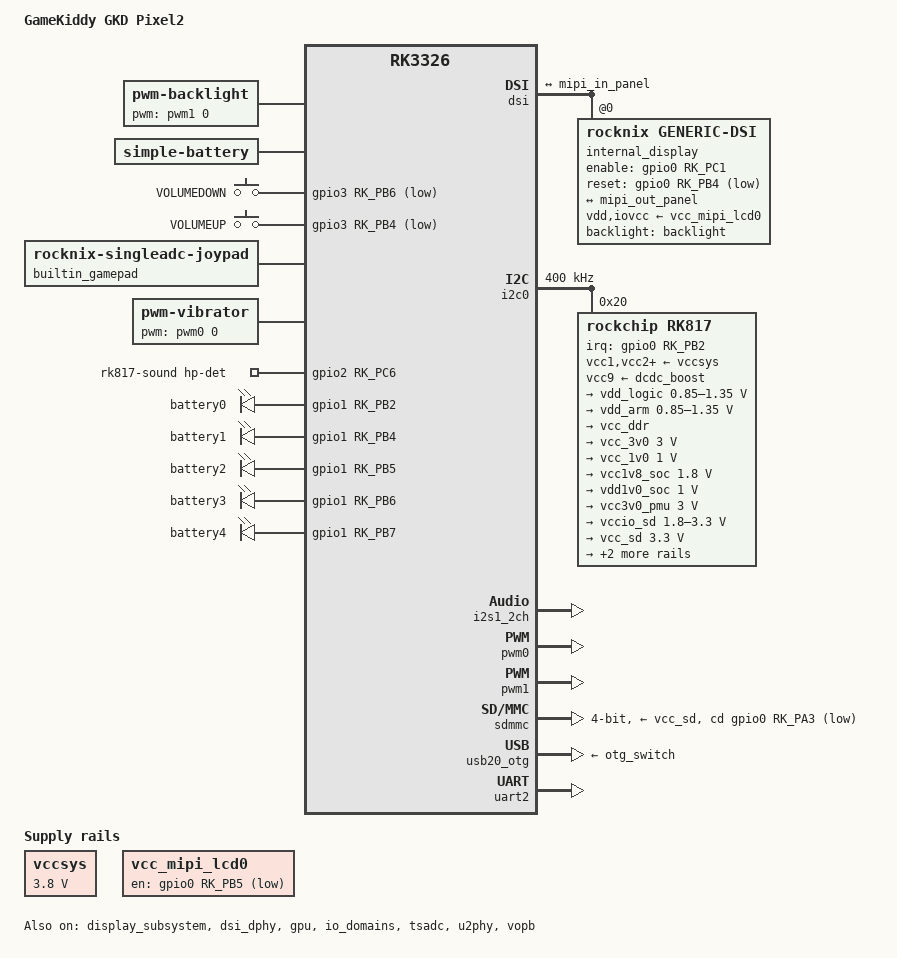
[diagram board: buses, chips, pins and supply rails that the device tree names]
// SPDX-License-Identifier: (GPL-2.0+ OR MIT)
/*
 * Copyright (c) 2024 GameKiddy
 *
 * Reconstructed from the vendor-extracted rk3326s-gkd-pixel2.dtsi into a
 * mainline/ROCKNIX-style board .dts on top of the shared rk3326.dtsi,
 * mirroring the other standalone RK3326 boards in this tree (e.g.
 * rk3326-gameforce-chi.dts).
 *
 * No analog sticks - every input is a plain GPIO switch - so the gamepad
 * uses rocknix-singleadc-joypad with amux-count = <0>, same as the other
 * all-digital RK3326 boards (e.g. rk3326-gameconsole-r33s.dts).
 */

/dts-v1/;
#include <dt-bindings/gpio/gpio.h>
#include <dt-bindings/input/input.h>
#include <dt-bindings/leds/common.h>
#include <dt-bindings/pinctrl/rockchip.h>
#include "rk3326.dtsi"

/ {
	model = "GameKiddy GKD Pixel2";
	compatible = "gamekiddy,gkd-pixel2", "rockchip,rk3326";
	chassis-type = "handset";

	aliases {
		mmc0 = &sdmmc;
	};

	chosen {
		stdout-path = "serial2:1500000n8";
	};

	backlight: backlight {
		compatible = "pwm-backlight";
		pwms = <&pwm1 0 25000 1>;
		/*
		 * Levels 0-16 are clamped to 17: below that the backlight
		 * circuit can't sustain visible output and just goes dark.
		 * Measured floor was 15 on one unit, 12 on another - 17 adds
		 * margin for unsampled unit-to-unit variance.
		 */
		brightness-levels = <
		 17  17  17  17  17  17  17  17
		 17  17  17  17  17  17  17  17
		 17  17  18  19  20  21  22  23
		 24  25  26  27  28  29  30  31
		 32  33  34  35  36  37  38  39
		 40  41  42  43  44  45  46  47
		 48  49  50  51  52  53  54  55
		 56  57  58  59  60  61  62  63
		 64  65  66  67  68  69  70  71
		 72  73  74  75  76  77  78  79
		 80  81  82  83  84  85  86  87
		 88  89  90  91  92  93  94  95
		 96  97  98  99 100 101 102 103
		104 105 106 107 108 109 110 111
		112 113 114 115 116 117 118 119
		120 121 122 123 124 125 126 127
		128 129 130 131 132 133 134 135
		136 137 138 139 140 141 142 143
		144 145 146 147 148 149 150 151
		152 153 154 155 156 157 158 159
		160 161 162 163 164 165 166 167
		168 169 170 171 172 173 174 175
		176 177 178 179 180 181 182 183
		184 185 186 187 188 189 190 191
		192 193 194 195 196 197 198 199
		200 201 202 203 204 205 206 207
		208 209 210 211 212 213 214 215
		216 217 218 219 220 221 222 223
		224 225 226 227 228 229 230 231
		232 233 234 235 236 237 238 239
		240 241 242 243 244 245 246 247
		248 249 250 251 252 253 254 255>;
		default-brightness-level = <200>;
	};

	battery: battery {
		compatible = "simple-battery";
		charge-full-design-microamp-hours = <1730000>;
		charge-term-current-microamp = <300000>;
		constant-charge-current-max-microamp = <2000000>;
		constant-charge-voltage-max-microvolt = <4350000>;
		factory-internal-resistance-micro-ohms = <111000>;
		voltage-max-design-microvolt = <4333000>;
		voltage-min-design-microvolt = <3400000>;

		ocv-capacity-celsius = <20>;
		ocv-capacity-table-0 =  <4333000 100>, <4276000 95>, <4217000 90>, <4163000 85>,
					<4107000 80>, <4062000 75>, <4011000 70>, <3967000 65>,
					<3921000 60>, <3878000 55>, <3848000 50>, <3826000 45>,
					<3805000 40>, <3790000 35>, <3776000 30>, <3754000 25>,
					<3738000 20>, <3708000 15>, <3694000 10>, <3643000 5>,
					<3444000 0>;
	};

	gpio_keys: gpio-keys {
		compatible = "gpio-keys";
		pinctrl-names = "default";
		pinctrl-0 = <&volume_gpio>;
		autorepeat;

		button-vol-down {
			gpios = <&gpio3 RK_PB6 GPIO_ACTIVE_LOW>;
			label = "VOLUMEDOWN";
			linux,code = <KEY_VOLUMEDOWN>;
		};

		button-vol-up {
			gpios = <&gpio3 RK_PB4 GPIO_ACTIVE_LOW>;
			label = "VOLUMEUP";
			linux,code = <KEY_VOLUMEUP>;
		};
	};

	builtin_gamepad: gkd-pixel2-joypad {
		compatible = "rocknix-singleadc-joypad";
		pinctrl-names = "default";
		pinctrl-0 = <&btn_pins>;
		joypad-name = "gkd_pixel2_joypad";
		joypad-vendor = <0x0001>;
		joypad-product = <0x2102>;
		joypad-revision = <0x0100>;
		status = "okay";

		/* purely digital switches - no ADC/analog stick present */
		amux-count = <0>;
		poll-interval = <10>;

		/*
		 * No rumble properties here - handled by the standalone
		 * "vibrator" node below instead of this driver's own
		 * has_rumble path (see there for why).
		 */

		button-up {
			gpios = <&gpio3 RK_PB5 GPIO_ACTIVE_LOW>;
			label = "DPAD-UP";
			linux,code = <BTN_DPAD_UP>;
		};

		button-down {
			gpios = <&gpio3 RK_PC4 GPIO_ACTIVE_LOW>;
			label = "DPAD-DOWN";
			linux,code = <BTN_DPAD_DOWN>;
		};

		button-left {
			gpios = <&gpio3 RK_PB3 GPIO_ACTIVE_LOW>;
			label = "DPAD-LEFT";
			linux,code = <BTN_DPAD_LEFT>;
		};

		button-right {
			gpios = <&gpio3 RK_PA4 GPIO_ACTIVE_LOW>;
			label = "DPAD-RIGHT";
			linux,code = <BTN_DPAD_RIGHT>;
		};

		button-a {
			gpios = <&gpio3 RK_PD1 GPIO_ACTIVE_LOW>;
			label = "SOUTH";
			linux,code = <BTN_SOUTH>;
		};

		button-b {
			gpios = <&gpio3 RK_PD2 GPIO_ACTIVE_LOW>;
			label = "EAST";
			linux,code = <BTN_EAST>;
		};

		button-x {
			gpios = <&gpio3 RK_PA5 GPIO_ACTIVE_LOW>;
			label = "NORTH";
			linux,code = <BTN_NORTH>;
		};

		button-y {
			gpios = <&gpio3 RK_PA6 GPIO_ACTIVE_LOW>;
			label = "WEST";
			linux,code = <BTN_WEST>;
		};

		button-l1 {
			gpios = <&gpio3 RK_PC0 GPIO_ACTIVE_LOW>;
			label = "TOP-LEFT";
			linux,code = <BTN_TL>;
		};

		button-r1 {
			gpios = <&gpio3 RK_PB2 GPIO_ACTIVE_LOW>;
			label = "TOP-RIGHT";
			linux,code = <BTN_TR>;
		};

		button-l2 {
			gpios = <&gpio3 RK_PC1 GPIO_ACTIVE_LOW>;
			label = "TOP-LEFT2";
			linux,code = <BTN_TL2>;
		};

		button-r2 {
			gpios = <&gpio3 RK_PC3 GPIO_ACTIVE_LOW>;
			label = "TOP-RIGHT2";
			linux,code = <BTN_TR2>;
		};

		button-select {
			gpios = <&gpio3 RK_PC2 GPIO_ACTIVE_LOW>;
			label = "SELECT";
			linux,code = <BTN_SELECT>;
		};

		button-start {
			gpios = <&gpio3 RK_PD3 GPIO_ACTIVE_LOW>;
			label = "START";
			linux,code = <BTN_START>;
		};

		button-menu {
			gpios = <&gpio3 RK_PC5 GPIO_ACTIVE_LOW>;
			label = "FUNCTION";
			linux,code = <BTN_TRIGGER_HAPPY1>;
		};
	};

	/*
	 * Uses the built-in pwm-vibrator driver (CONFIG_INPUT_PWM_VIBRA=y)
	 * instead of rocknix-singleadc-joypad's own has_rumble path, which
	 * is an out-of-tree module that doesn't probe until ~10s into boot
	 * vs ~0.65s for pwm-vibrator. Sibling boards (rg351m/rg351v/
	 * gameforce-chi) do the same.
	 *
	 * Period is 1000000ns (1kHz), not vendor's 200000000ns (5Hz): the
	 * vendor rate produces perceptible individual pulses at partial
	 * duty. 1kHz matches rg351m/rg351v and gives smooth vibration at
	 * any strength. Polarity matches vendor.
	 *
	 * pwm-vibra.c's probe left the motor stuck on at boot the same way
	 * rocknix-singleadc-joypad's did; 030-pwm-vibra-kick-stuck-boot-
	 * state.patch ports the same probe-time kick fix into it.
	 */
	vibrator: pwm-vibrator {
		compatible = "pwm-vibrator";
		pwms = <&pwm0 0 1000000 0>;
		pwm-names = "enable";
	};

	rk817-sound {
		compatible = "simple-audio-card";
		simple-audio-card,name = "rk817_int";
		simple-audio-card,format = "i2s";
		simple-audio-card,hp-det-gpio = <&gpio2 RK_PC6 GPIO_ACTIVE_HIGH>;
		simple-audio-card,mclk-fs = <256>;
		simple-audio-card,widgets =
			"Microphone", "Mic Jack",
			"Headphone", "Headphones",
			"Speaker", "Speaker";
		simple-audio-card,routing =
			"MICL", "Mic Jack",
			"Headphones", "HPOL",
			"Headphones", "HPOR",
			"Speaker", "SPKO";

		simple-audio-card,codec {
			sound-dai = <&rk817>;
		};

		simple-audio-card,cpu {
			sound-dai = <&i2s1_2ch>;
		};
	};

	vccsys: regulator-vccsys {
		compatible = "regulator-fixed";
		regulator-name = "vcc3v8_sys";
		regulator-always-on;
		regulator-boot-on;
		regulator-min-microvolt = <3800000>;
		regulator-max-microvolt = <3800000>;
	};

	vcc_mipi_lcd0: regulator-vcc-mipi-lcd0 {
		compatible = "regulator-fixed";
		regulator-name = "vcc_mipi_lcd0";
		gpio = <&gpio0 RK_PB5 GPIO_ACTIVE_LOW>;
		pinctrl-0 = <&vcc_mipi_lcd_n>;
		pinctrl-names = "default";
		regulator-boot-on;

		regulator-state-mem {
			regulator-off-in-suspend;
		};
	};

	leds {
		compatible = "gpio-leds";
		pinctrl-names = "default";
		pinctrl-0 = <&led_gpio>;

		led-0 {
			gpios = <&gpio1 RK_PB2 GPIO_ACTIVE_HIGH>;
			label = "battery0";
		};
		led-1 {
			gpios = <&gpio1 RK_PB4 GPIO_ACTIVE_HIGH>;
			label = "battery1";
		};
		led-2 {
			gpios = <&gpio1 RK_PB5 GPIO_ACTIVE_HIGH>;
			label = "battery2";
		};
		led-3 {
			gpios = <&gpio1 RK_PB6 GPIO_ACTIVE_HIGH>;
			label = "battery3";
		};
		led-4 {
			gpios = <&gpio1 RK_PB7 GPIO_ACTIVE_HIGH>;
			label = "battery4";
		};
	};

	/*
	 * Forwards these values to BL31 firmware via SIP calls, arming wake
	 * sources for PX30S's firmware-controlled deep suspend (see
	 * 031-px30s-suspend-wakeup-config.patch). Values match vendor
	 * exactly.
	 *
	 * DO NOT REMOVE, even though no other RK3326/Rockchip board has this
	 * node: confirmed by testing with it fully disabled that mem-sleep
	 * stops resuming entirely without it. Suspend/resume is fully
	 * reliable end to end: the separate post-resume cpufreq-transition
	 * crash is fixed - see 034-px30s-cru-suspend-resume-restore.patch.
	 */
	rockchip_suspend: rockchip-suspend {
		compatible = "rockchip,pm-px30";
		status = "okay";
		rockchip,sleep-debug-en = <0>;
		rockchip,sleep-mode-config = <132866>;
		rockchip,wakeup-config = <133>;
	};

	/*
	 * Board-local copy of the vendor cpu0_opp_table (all nine real
	 * frequency steps, vs mainline's shared 3-step table in px30.dtsi
	 * which several other RK3326 boards use by default - extending it
	 * directly would've changed their behavior too). All steps use the
	 * plain (unsuffixed) opp-microvolt value, which equals vendor's own
	 * -L0 row (the safest, highest-margin bin): mainline has no driver
	 * for the per-chip rockchip,bin-scaling-sel/opp-microvolt-Lx AVS
	 * selection vendor's own driver uses.
	 *
	 * An earlier, lower-voltage px30s-specific table caused the CPU
	 * overclock steps (1416/1512MHz) to freeze the system, even though
	 * this same silicon ran stable at 1416MHz under this generic table's
	 * higher 1.35V - i.e. 1512MHz was under-provisioned by the px30s
	 * table's lower ceiling, not overvolted by this one.
	 */
	gkd_pixel2_cpu0_opp_table: gkd-pixel2-cpu0-opp-table {
		compatible = "operating-points-v2";
		opp-shared;

		opp-408000000 {
			opp-hz = /bits/ 64 <408000000>;
			opp-microvolt = <950000 950000 1350000>;
			clock-latency-ns = <40000>;
			opp-suspend;
		};
		opp-600000000 {
			opp-hz = /bits/ 64 <600000000>;
			opp-microvolt = <950000 950000 1350000>;
			clock-latency-ns = <40000>;
		};
		opp-816000000 {
			opp-hz = /bits/ 64 <816000000>;
			opp-microvolt = <1050000 1050000 1350000>;
			clock-latency-ns = <40000>;
		};
		opp-1008000000 {
			opp-hz = /bits/ 64 <1008000000>;
			opp-microvolt = <1175000 1175000 1350000>;
			clock-latency-ns = <40000>;
		};
		opp-1200000000 {
			opp-hz = /bits/ 64 <1200000000>;
			opp-microvolt = <1300000 1300000 1350000>;
			clock-latency-ns = <40000>;
		};
		opp-1248000000 {
			opp-hz = /bits/ 64 <1248000000>;
			opp-microvolt = <1350000 1350000 1350000>;
			clock-latency-ns = <40000>;
		};
		opp-1296000000 {
			opp-hz = /bits/ 64 <1296000000>;
			opp-microvolt = <1350000 1350000 1350000>;
			clock-latency-ns = <40000>;
		};
		opp-1416000000 {
			opp-hz = /bits/ 64 <1416000000>;
			opp-microvolt = <1350000 1350000 1350000>;
			clock-latency-ns = <40000>;
			turbo-mode;
		};
		/*
		 * Disabled: this step was the trigger originally used to
		 * reproduce the post-resume-from-deep-suspend cpufreq-
		 * transition crash, which is now root-caused and fixed - see
		 * 034-px30s-cru-suspend-resume-restore.patch and the Alpha
		 * 1.4 release notes. Confirmed correct voltage (bit-for-bit
		 * matching vendor's reference table) and confirmed this
		 * silicon runs stable sustained at this frequency under a
		 * static governor, so this was never a simple
		 * overclock-instability disable.
		 *
		 * Left disabled for now regardless: this specific step can't
		 * have been exercised under the fix, since cpufreq never sees
		 * a disabled OPP entry to select in the first place. Re-enable
		 * only after testing 1512MHz directly post-fix, not simply
		 * because the general crash is fixed.
		 */
		opp-1512000000 {
			opp-hz = /bits/ 64 <1512000000>;
			opp-microvolt = <1350000 1350000 1350000>;
			clock-latency-ns = <40000>;
			turbo-mode;
			status = "disabled";
		};
	};

	gkd_pixel2_gpu_opp_table: gkd-pixel2-gpu-opp-table {
		compatible = "operating-points-v2";

		opp-200000000 {
			opp-hz = /bits/ 64 <200000000>;
			opp-microvolt = <950000>;
		};
		opp-300000000 {
			opp-hz = /bits/ 64 <300000000>;
			opp-microvolt = <975000>;
		};
		opp-400000000 {
			opp-hz = /bits/ 64 <400000000>;
			opp-microvolt = <1050000>;
		};
		opp-480000000 {
			opp-hz = /bits/ 64 <480000000>;
			opp-microvolt = <1125000>;
		};
		opp-520000000 {
			opp-hz = /bits/ 64 <520000000>;
			opp-microvolt = <1175000>;
		};
	};
};

&cpu0 {
	operating-points-v2 = <&gkd_pixel2_cpu0_opp_table>;
	cpu-supply = <&vdd_arm>;
};

&cpu1 {
	operating-points-v2 = <&gkd_pixel2_cpu0_opp_table>;
	cpu-supply = <&vdd_arm>;
};

&cpu2 {
	operating-points-v2 = <&gkd_pixel2_cpu0_opp_table>;
	cpu-supply = <&vdd_arm>;
};

&cpu3 {
	operating-points-v2 = <&gkd_pixel2_cpu0_opp_table>;
	cpu-supply = <&vdd_arm>;
};

&display_subsystem {
	status = "okay";
};

&dsi {
	#address-cells = <1>;
	#size-cells = <0>;
	status = "okay";

	internal_display: panel@0 {
		reg = <0>;
		/*
		 * Uses rocknix,generic-dsi (already used by other RK3326
		 * boards, e.g. rk3326-gameconsole-eeclone.dts) with an init
		 * sequence reconstructed for this panel. vdd-supply/
		 * iovcc-supply are this driver's actual regulator property
		 * names (see devm_regulator_get() in panel-generic-dsi.c).
		 * reset-gpios must be GPIO_ACTIVE_LOW - GPIO_ACTIVE_HIGH
		 * leaves the screen blank.
		 */
		compatible = "rocknix,generic-dsi";
		/*
		 * delays= is "prepare,reset,init,enable,ready" (ms) - see
		 * load_globals() in panel-generic-dsi.c. prepare = wait after
		 * asserting enable-gpio; reset = wait while reset-gpio is
		 * asserted; init = wait after deasserting reset, before the
		 * DCS init sequence starts; enable = wait after
		 * exit_sleep_mode; ready is parsed but currently dead code
		 * (its msleep is commented out in generic_panel_prepare()).
		 *
		 * prepare (2->20ms) and reset (1->150ms) mirror timings from
		 * the previous st7701 driver approach (see git history commit
		 * c1bb86d38e2f) - this driver's original values were far
		 * shorter before the DCS init sequence starts. Fixes the
		 * freeze/idle screen-corruption-on-wake bug.
		 */
		panel_description =
			"G size=68,121 delays=20,150,20,120,20 format=rgb888 lanes=2 flags=0xe03",
			"M clock=25000 horizontal=480,40,10,40 vertical=640,40,10,40 default=1",
			"I seq=ff7701000013",
			"I seq=ef08",
			"I seq=ff7701000010",
			"I seq=c04f00", "I seq=c1100c", "I seq=c20114", "I seq=cc10",
			"I seq=b0000b130d10070208071f04110f282f1f",
			"I seq=b1000c130c10050208081e05131127301f",
			"I seq=ff7701000011",
			"I seq=b04d", "I seq=b14d", "I seq=b287", "I seq=b380", "I seq=b545", "I seq=b785", "I seq=b820",
			"I seq=c009", "I seq=c178", "I seq=c278",
			"I seq=d088 wait=100",
			"I seq=e0000002",
			"I seq=e104b006b005b007b0004444",
			"I seq=e22020444496a0000096a00000",
			"I seq=e300002222",
			"I seq=e44444",
			"I seq=e50c90b0a00e92b0a0088cb0a00a8eb0a0",
			"I seq=e600002222",
			"I seq=e74444",
			"I seq=e80d91b0a00f93b0a0098db0a00b8fb0a0",
			"I seq=e93600",
			"I seq=eb0000e4e4448840",
			"I seq=edc1a2bf0f6745ffffffff5476f0fb2a1c",
			"I seq=ef100d04083f1f",
			"I seq=ff7701000013",
			"I seq=e8000e",
			"I seq=ff7701000000",
			"I seq=11 wait=120",
			"I seq=ff7701000013",
			"I seq=e8000c wait=10",
			"I seq=e80000",
			"I seq=ff7701000000",
			"I seq=29 wait=50";
		backlight = <&backlight>;
		vdd-supply = <&vcc_mipi_lcd0>;
		iovcc-supply = <&vcc_mipi_lcd0>;
		enable-gpios = <&gpio0 RK_PC1 GPIO_ACTIVE_HIGH>;
		reset-gpios = <&gpio0 RK_PB4 GPIO_ACTIVE_LOW>;
		pinctrl-names = "default";
		pinctrl-0 = <&dsi0_lcd_gpio>;
		/*
		 * 90 produced an upside-down image (180 degrees off from
		 * correct) once the panel actually started displaying
		 * anything - this panel is mounted 270 degrees relative to
		 * its native portrait orientation in this chassis, not 90.
		 */
		rotation = <270>;

		port {
			mipi_in_panel: endpoint {
				remote-endpoint = <&mipi_out_panel>;
			};
		};
	};

	ports {
		mipi_out: port@1 {
			reg = <1>;
			mipi_out_panel: endpoint {
				remote-endpoint = <&mipi_in_panel>;
			};
		};
	};
};

&dsi_dphy {
	compatible = "rockchip,px30s-dsi-dphy", "rockchip,px30-dsi-dphy";
	status = "okay";
};

&gpu {
	/*
	 * Board-local copy of vendor's real 5-step gpu_opp_table, same
	 * reasoning as gkd_pixel2_cpu0_opp_table above (mainline's shared
	 * table in px30.dtsi has only one non-vendor 560MHz entry and is
	 * used by other RK3326 boards by default).
	 */
	operating-points-v2 = <&gkd_pixel2_gpu_opp_table>;
	mali-supply = <&vdd_logic>;
	status = "okay";
};

&i2c0 {
	clock-frequency = <400000>;
	i2c-scl-falling-time-ns = <16>;
	i2c-scl-rising-time-ns = <280>;
	status = "okay";

	rk817: pmic@20 {
		compatible = "rockchip,rk817";
		reg = <0x20>;
		interrupt-parent = <&gpio0>;
		interrupts = <RK_PB2 IRQ_TYPE_LEVEL_LOW>;
		clock-output-names = "rk808-clkout1", "xin32k";
		clock-names = "mclk";
		clocks = <&cru SCLK_I2S1_OUT>;
		pinctrl-names = "default";
		pinctrl-0 = <&pmic_int>, <&i2s1_2ch_mclk>;
		rockchip,system-power-controller;
		wakeup-source;
		#clock-cells = <1>;
		#sound-dai-cells = <0>;

		vcc1-supply = <&vccsys>;
		vcc2-supply = <&vccsys>;
		vcc3-supply = <&vccsys>;
		vcc4-supply = <&vccsys>;
		vcc5-supply = <&vccsys>;
		vcc6-supply = <&vccsys>;
		vcc7-supply = <&vccsys>;
		vcc8-supply = <&vccsys>;
		vcc9-supply = <&dcdc_boost>;

		regulators {
			vdd_logic: DCDC_REG1 {
				regulator-name = "vdd_logic";
				regulator-min-microvolt = <850000>;
				regulator-max-microvolt = <1350000>;
				regulator-ramp-delay = <6001>;
				regulator-initial-mode = <2>;
				regulator-always-on;
				regulator-boot-on;

				regulator-state-mem {
					regulator-on-in-suspend;
					regulator-suspend-microvolt = <950000>;
				};
			};

			vdd_arm: DCDC_REG2 {
				regulator-name = "vdd_arm";
				regulator-min-microvolt = <850000>;
				regulator-max-microvolt = <1350000>;
				regulator-ramp-delay = <6001>;
				regulator-initial-mode = <2>;
				regulator-always-on;
				regulator-boot-on;

				regulator-state-mem {
					regulator-off-in-suspend;
					regulator-suspend-microvolt = <950000>;
				};
			};

			vcc_ddr: DCDC_REG3 {
				regulator-name = "vcc_ddr";
				regulator-initial-mode = <2>;
				regulator-always-on;
				regulator-boot-on;

				regulator-state-mem {
					regulator-on-in-suspend;
				};
			};

			vcc_3v0: DCDC_REG4 {
				regulator-name = "vcc_3v0";
				regulator-min-microvolt = <3000000>;
				regulator-max-microvolt = <3000000>;
				regulator-initial-mode = <2>;
				regulator-always-on;
				regulator-boot-on;

				regulator-state-mem {
					regulator-off-in-suspend;
					regulator-suspend-microvolt = <3000000>;
				};
			};

			vcc_1v0: LDO_REG1 {
				regulator-name = "vcc_1v0";
				regulator-min-microvolt = <1000000>;
				regulator-max-microvolt = <1000000>;
				regulator-always-on;
				regulator-boot-on;

				regulator-state-mem {
					regulator-off-in-suspend;
					regulator-suspend-microvolt = <1000000>;
				};
			};

			vcc1v8_soc: LDO_REG2 {
				regulator-name = "vcc1v8_soc";
				regulator-min-microvolt = <1800000>;
				regulator-max-microvolt = <1800000>;
				regulator-always-on;
				regulator-boot-on;

				regulator-state-mem {
					regulator-on-in-suspend;
					regulator-suspend-microvolt = <1800000>;
				};
			};

			vdd1v0_soc: LDO_REG3 {
				regulator-name = "vcc1v0_soc";
				regulator-min-microvolt = <1000000>;
				regulator-max-microvolt = <1000000>;
				regulator-always-on;
				regulator-boot-on;

				regulator-state-mem {
					regulator-on-in-suspend;
					regulator-suspend-microvolt = <1000000>;
				};
			};

			vcc3v0_pmu: LDO_REG4 {
				regulator-name = "vcc3v0_pmu";
				regulator-min-microvolt = <3000000>;
				regulator-max-microvolt = <3000000>;
				regulator-always-on;
				regulator-boot-on;

				regulator-state-mem {
					regulator-on-in-suspend;
					regulator-suspend-microvolt = <3000000>;
				};
			};

			vccio_sd: LDO_REG5 {
				regulator-name = "vccio_sd";
				regulator-min-microvolt = <1800000>;
				regulator-max-microvolt = <3300000>;
				regulator-always-on;
				regulator-boot-on;

				regulator-state-mem {
					regulator-off-in-suspend;
					regulator-suspend-microvolt = <3300000>;
				};
			};

			vcc_sd: LDO_REG6 {
				regulator-name = "vcc_sd";
				regulator-min-microvolt = <3300000>;
				regulator-max-microvolt = <3300000>;
				regulator-boot-on;

				regulator-state-mem {
					regulator-off-in-suspend;
					regulator-suspend-microvolt = <3300000>;
				};
			};

			dcdc_boost: BOOST {
				regulator-name = "boost";
				regulator-min-microvolt = <5000000>;
				regulator-max-microvolt = <5000000>;
				regulator-always-on;
				regulator-boot-on;

				regulator-state-mem {
					regulator-off-in-suspend;
				};
			};

			otg_switch: OTG_SWITCH {
				regulator-name = "otg_switch";

				regulator-state-mem {
					regulator-off-in-suspend;
				};
			};
		};

		rk817_charger: charger {
			rockchip,resistor-sense-micro-ohms = <10000>;
			rockchip,sleep-enter-current-microamp = <300000>;
			rockchip,sleep-filter-current-microamp = <100000>;
			monitored-battery = <&battery>;
		};

		rk817_codec: codec {
			rockchip,mic-in-differential;
		};
	};
};

&i2s1_2ch {
	status = "okay";
};

&io_domains {
	vccio1-supply = <&vcc_3v0>;
	vccio2-supply = <&vccio_sd>;
	vccio3-supply = <&vcc_3v0>;
	vccio4-supply = <&vcc_3v0>;
	vccio5-supply = <&vcc_3v0>;
	vccio6-supply = <&vcc_3v0>;
	status = "okay";
};

&pmu_io_domains {
	pmuio1-supply = <&vcc3v0_pmu>;
	pmuio2-supply = <&vcc3v0_pmu>;
	status = "okay";
};

/* pwm0 drives the rumble motor (see comment on the joypad node above). */
&pwm0 {
	status = "okay";
};

&pwm1 {
	status = "okay";
};

&sdmmc {
	bus-width = <4>;
	cap-mmc-highspeed;
	cap-sd-highspeed;
	card-detect-delay = <800>;
	cd-gpios = <&gpio0 RK_PA3 GPIO_ACTIVE_LOW>;
	disable-wp;
	sd-uhs-sdr12;
	sd-uhs-sdr25;
	sd-uhs-sdr50;
	sd-uhs-sdr104;
	vmmc-supply = <&vcc_sd>;
	vqmmc-supply = <&vccio_sd>;
	status = "okay";
};

/*
 * This board's silicon is PX30S, a distinct chip variant from plain PX30
 * (confirmed via DDR_GRF_CON1 bits[15:14] == 0b11), needing a different
 * ADC init sequence, a mandatory 4MHz clock rate, a ~2.1ms post-enable
 * settle delay, and a linear code<->temp conversion instead of a lookup
 * table - see 023-px30s-tsadc-support.patch, which adds the
 * "rockchip,px30s-tsadc" compatible used below.
 *
 * If a silent reset recurs, check the hardware rockchip,hw-tshut-temp
 * auto-reset circuit first - it sits outside Linux's control entirely.
 */
&tsadc {
	compatible = "rockchip,px30s-tsadc";
	status = "okay";
};

&u2phy {
	status = "okay";

	u2phy_host: host-port {
		status = "okay";
	};

	u2phy_otg: otg-port {
		status = "okay";
	};
};

&usb20_otg {
	/*
	 * Without this, dwc2 never enables the PMIC's otg_switch 5V boost
	 * regulator in host mode (confirmed via stock-firmware dmesg: dwc2
	 * looks up "vbus-supply" and otg_switch stays disabled with nothing
	 * to enable it) - so a plugged-in peripheral gets data lines but no
	 * bus power and never enumerates.
	 */
	vbus-supply = <&otg_switch>;
	/*
	 * px30.dtsi's shared usb-role-switch (022-usb-role-switch.patch)
	 * defaults every RK3326 board to host mode, harmless elsewhere since
	 * no other board wires vbus-supply. Here it isn't: permanently
	 * self-sourcing 5V from boot starves dwc2's ID/VBUS detection of any
	 * transition to notice, so plugging into a charger/PC never
	 * auto-negotiates charging. Vendor kernel leaves dr_mode = "otg"
	 * with no default and lets hardware ID/VBUS detection decide - drop
	 * the inherited default to match.
	 */
	/delete-property/ role-switch-default-mode;
	status = "okay";
};

&uart2 {
	pinctrl-names = "default";
	pinctrl-0 = <&uart2m1_xfer>;
	status = "okay";
};

&vopb {
	status = "okay";
};

&vopb_mmu {
	status = "okay";
};

&pinctrl {
	btns {
		btn_pins: btn-pins {
			rockchip,pins =
				<3 RK_PB5 RK_FUNC_GPIO &pcfg_pull_up>,
				<3 RK_PC4 RK_FUNC_GPIO &pcfg_pull_up>,
				<3 RK_PB3 RK_FUNC_GPIO &pcfg_pull_up>,
				<3 RK_PA4 RK_FUNC_GPIO &pcfg_pull_up>,
				<3 RK_PD1 RK_FUNC_GPIO &pcfg_pull_up>,
				<3 RK_PD2 RK_FUNC_GPIO &pcfg_pull_up>,
				<3 RK_PA5 RK_FUNC_GPIO &pcfg_pull_up>,
				<3 RK_PA6 RK_FUNC_GPIO &pcfg_pull_up>,
				<3 RK_PC5 RK_FUNC_GPIO &pcfg_pull_up>,
				<3 RK_PD3 RK_FUNC_GPIO &pcfg_pull_up>,
				<3 RK_PC2 RK_FUNC_GPIO &pcfg_pull_up>,
				<3 RK_PC0 RK_FUNC_GPIO &pcfg_pull_up>,
				<3 RK_PB2 RK_FUNC_GPIO &pcfg_pull_up>,
				<3 RK_PC1 RK_FUNC_GPIO &pcfg_pull_up>,
				<3 RK_PC3 RK_FUNC_GPIO &pcfg_pull_up>;
		};
	};

	keys {
		volume_gpio: volume-gpio {
			rockchip,pins =
				<3 RK_PB4 RK_FUNC_GPIO &pcfg_pull_up>,
				<3 RK_PB6 RK_FUNC_GPIO &pcfg_pull_up>;
		};
	};

	headphone {
		hp_det: hp-det {
			rockchip,pins = <2 RK_PC6 RK_FUNC_GPIO &pcfg_pull_none>;
		};
	};

	led {
		led_gpio: led-gpio {
			rockchip,pins =
				<1 RK_PB2 RK_FUNC_GPIO &pcfg_pull_none>,
				<1 RK_PB4 RK_FUNC_GPIO &pcfg_pull_none>,
				<1 RK_PB5 RK_FUNC_GPIO &pcfg_pull_none>,
				<1 RK_PB6 RK_FUNC_GPIO &pcfg_pull_none>,
				<1 RK_PB7 RK_FUNC_GPIO &pcfg_pull_none>;
		};
	};

	dsi0-lcd {
		dsi0_lcd_gpio: dsi0-lcd-gpio {
			rockchip,pins =
				<0 RK_PC1 RK_FUNC_GPIO &pcfg_pull_none>,
				<0 RK_PB4 RK_FUNC_GPIO &pcfg_pull_up>;
		};
	};

	vcc-mipi-lcd {
		vcc_mipi_lcd_n: vcc-mipi-lcd-n {
			rockchip,pins = <0 RK_PB5 RK_FUNC_GPIO &pcfg_pull_none>;
		};
	};

	pmic {
		pmic_int: pmic-int {
			rockchip,pins = <0 RK_PB2 RK_FUNC_GPIO &pcfg_pull_up>;
		};

		soc_slppin_gpio: soc_slppin_gpio {
			rockchip,pins = <0 RK_PA4 RK_FUNC_GPIO &pcfg_output_low>;
		};

		soc_slppin_rst: soc_slppin_rst {
			rockchip,pins = <0 RK_PA4 2 &pcfg_pull_none>;
		};

		soc_slppin_slp: soc_slppin_slp {
			rockchip,pins = <0 RK_PA4 1 &pcfg_pull_none>;
		};
	};
};
